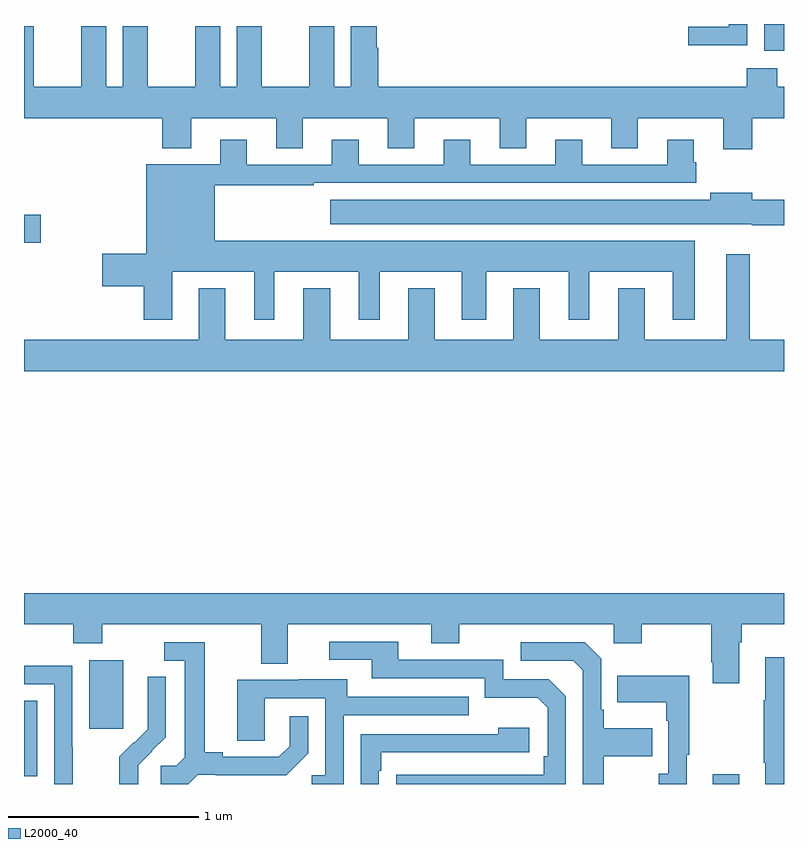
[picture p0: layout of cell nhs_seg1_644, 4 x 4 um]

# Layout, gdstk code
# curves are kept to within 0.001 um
import gdstk
lib = gdstk.Library(unit=1e-6, precision=1e-09)
def R(c, l, rs):  # rectangles x0, y0, x1, y1
    for r in rs: c.add(gdstk.rectangle(r[:2], r[2:], *l))
def P(c, l, *ps):  # polygons
    for p in ps: c.add(gdstk.Polygon(p, *l))
L2000_40 = (2000, 40)

nhs_seg1_644 = lib.new_cell('nhs_seg1_644')
R(nhs_seg1_644, L2000_40, [(148.625,576.199,148.765,576.25), (145,576.241,145.069,576.638), (145.343,576.489,145.522,576.85), (145,579.047,145.087,579.194), (148.895,580.058,149,580.199)])
P(nhs_seg1_644, L2000_40, [(148.806,580.199),(148.71,580.199),(148.71,580.185),(148.497,580.185),(148.497,580.087),(148.806,580.087)],
  [(145.301,580.186),(145.301,579.868),(145.051,579.868),(145.051,580.186),(145,580.186),(145,579.704),(145.727,579.704),(145.727,579.545),(145.879,579.545),(145.879,579.704),(146.327,579.704),(146.327,579.544),(146.467,579.544),(146.467,579.704),(146.915,579.704),(146.915,579.544),(147.055,579.544),(147.055,579.704),(147.503,579.704),(147.503,579.544),(147.643,579.544),(147.643,579.704),(148.091,579.704),(148.091,579.544),(148.231,579.544),(148.231,579.704),(148.679,579.704),(148.679,579.54),(148.832,579.54),(148.832,579.704),(149,579.704),(149,579.868),(148.965,579.868),(148.965,579.967),(148.805,579.967),(148.805,579.868),(146.864,579.868),(146.864,580.073),(146.857,580.073),(146.857,580.186),(146.72,580.186),(146.72,579.868),(146.632,579.868),(146.632,580.186),(146.501,580.186),(146.501,579.868),(146.251,579.868),(146.251,580.186),(146.12,580.186),(146.12,579.868),(146.032,579.868),(146.032,580.186),(145.901,580.186),(145.901,579.868),(145.651,579.868),(145.651,580.186),(145.52,580.186),(145.52,579.868),(145.432,579.868),(145.432,580.186)],
  [(145.78,578.894),(146.213,578.894),(146.213,578.643),(146.317,578.643),(146.317,578.894),(146.762,578.894),(146.762,578.643),(146.872,578.643),(146.872,578.894),(147.305,578.894),(147.305,578.643),(147.433,578.643),(147.433,578.894),(147.866,578.894),(147.866,578.643),(147.976,578.643),(147.976,578.894),(148.415,578.894),(148.415,578.643),(148.531,578.643),(148.531,579.058),(146.005,579.058),(146.005,579.351),(146.525,579.351),(146.525,579.363),(148.538,579.363),(148.538,579.471),(148.525,579.471),(148.525,579.589),(148.385,579.589),(148.385,579.459),(147.937,579.459),(147.937,579.589),(147.797,579.589),(147.797,579.459),(147.349,579.459),(147.349,579.589),(147.209,579.589),(147.209,579.459),(146.761,579.459),(146.761,579.589),(146.621,579.589),(146.621,579.459),(146.173,579.459),(146.173,579.589),(146.033,579.589),(146.033,579.46),(145.643,579.46),(145.643,578.99),(145.413,578.99),(145.413,578.819),(145.631,578.819),(145.631,578.643),(145.78,578.643)],
  [(149,579.274),(148.834,579.274),(148.834,579.31),(148.613,579.31),(148.613,579.274),(146.613,579.274),(146.613,579.146),(148.83,579.146),(148.83,579.14),(149,579.14)],
  [(149,578.536),(148.819,578.536),(148.819,578.986),(148.697,578.986),(148.697,578.536),(148.267,578.536),(148.267,578.809),(148.127,578.809),(148.127,578.536),(147.715,578.536),(147.715,578.809),(147.575,578.809),(147.575,578.536),(147.163,578.536),(147.163,578.809),(147.023,578.809),(147.023,578.536),(146.611,578.536),(146.611,578.809),(146.471,578.809),(146.471,578.536),(146.059,578.536),(146.059,578.809),(145.919,578.809),(145.919,578.536),(145,578.536),(145,578.372),(149,578.372)],
  [(148.765,576.944),(148.778,576.944),(148.778,577.04),(149,577.04),(149,577.204),(145,577.204),(145,577.04),(145.258,577.04),(145.258,576.941),(145.413,576.941),(145.413,577.04),(146.249,577.04),(146.249,576.832),(146.389,576.832),(146.389,577.04),(147.143,577.04),(147.143,576.941),(147.291,576.941),(147.291,577.04),(148.104,577.04),(148.104,576.941),(148.251,576.941),(148.251,577.04),(148.618,577.04),(148.618,576.841),(148.625,576.841),(148.625,576.729),(148.765,576.729)],
  [(147.852,576.66),(147.762,576.75),(147.522,576.75),(147.522,576.852),(146.971,576.852),(146.971,576.948),(146.607,576.948),(146.607,576.852),(146.831,576.852),(146.831,576.756),(147.426,576.756),(147.426,576.653),(147.703,576.653),(147.756,576.6),(147.756,576.346),(147.736,576.346),(147.736,576.249),(146.959,576.248),(146.959,576.199),(147.852,576.199)],
  [(145.914,576.249),(146.008,576.249),(146.008,576.246),(146.38,576.246),(146.496,576.362),(146.496,576.556),(146.399,576.556),(146.399,576.399),(146.342,576.342),(146.047,576.342),(146.047,576.365),(145.951,576.365),(145.951,576.945),(145.737,576.945),(145.737,576.849),(145.847,576.849),(145.847,576.341),(145.8,576.294),(145.719,576.294),(145.719,576.199),(145.864,576.199)],
  [(148.051,576.346),(148.307,576.346),(148.307,576.493),(148.051,576.493),(148.051,576.589),(148.038,576.589),(148.038,576.858),(147.951,576.945),(147.615,576.945),(147.615,576.849),(147.891,576.849),(147.942,576.798),(147.942,576.199),(148.051,576.199)],
  [(149,576.865),(148.901,576.865),(148.901,576.641),(148.894,576.641),(148.894,576.31),(148.901,576.31),(148.901,576.199),(149,576.199)],
  [(145.257,576.392),(145.254,576.392),(145.254,576.822),(145,576.822),(145,576.723),(145.158,576.723),(145.158,576.199),(145.257,576.199)],
  [(148.489,576.353),(148.501,576.353),(148.501,576.769),(148.123,576.769),(148.123,576.629),(148.38,576.629),(148.38,576.533),(148.392,576.533),(148.392,576.254),(148.341,576.254),(148.341,576.199),(148.489,576.199)],
  [(145.602,576.201),(145.6,576.201),(145.6,576.298),(145.746,576.446),(145.746,576.764),(145.65,576.764),(145.65,576.61),(145.652,576.61),(145.652,576.488),(145.581,576.417),(145.578,576.42),(145.501,576.343),(145.501,576.199),(145.602,576.199)],
  [(146.682,576.561),(147.341,576.561),(147.341,576.657),(146.701,576.657),(146.701,576.751),(146.447,576.751),(146.447,576.747),(146.123,576.747),(146.123,576.427),(146.268,576.427),(146.268,576.651),(146.586,576.651),(146.586,576.246),(146.514,576.246),(146.514,576.199),(146.682,576.199)],
  [(146.868,576.269),(146.881,576.269),(146.881,576.366),(147.658,576.366),(147.658,576.496),(147.497,576.496),(147.497,576.462),(146.772,576.462),(146.772,576.199),(146.868,576.199)])

lib.write_gds('nhs_seg1_644.gds')
